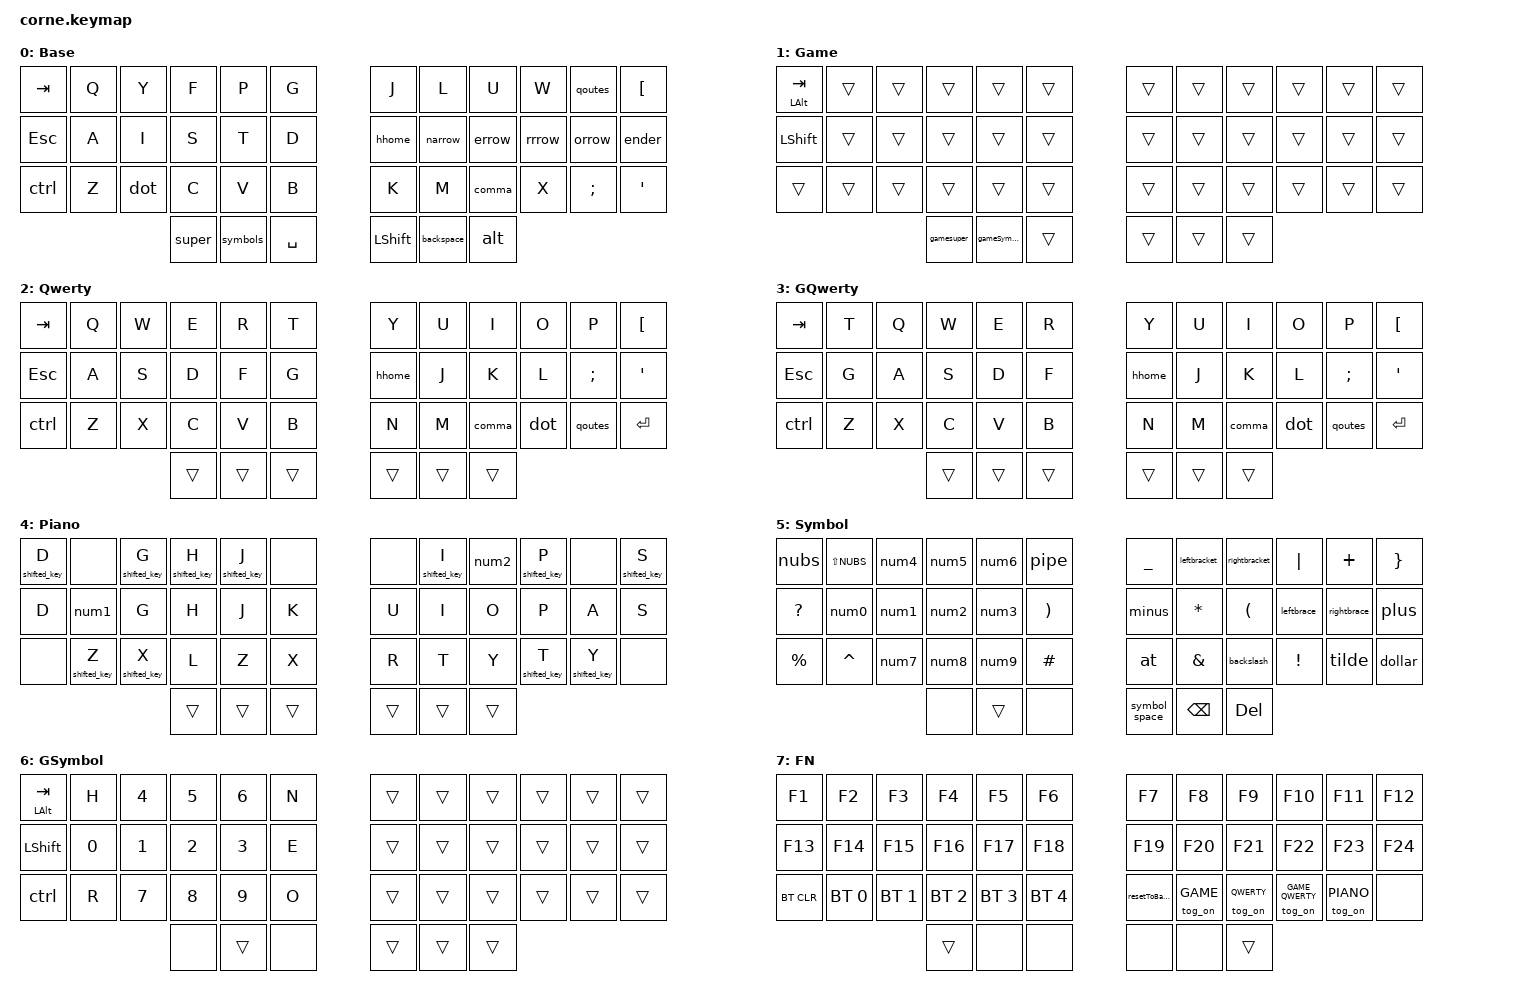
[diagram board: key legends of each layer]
/*
 * Copyright (c) 2020 The ZMK Contributors
 *
 * SPDX-License-Identifier: MIT
 */

#include <behaviors.dtsi>
#include <dt-bindings/zmk/keys.h>
#include <dt-bindings/zmk/bt.h>

#define DEFAULT     0
#define GAME        1
#define QWERTY      2
#define GAME_QWERTY 3
#define PIANO       4
#define SYMBOL      5
#define GAME_SYMBOL 6
#define FN          7
/ {
    behaviors {
        backspace: backspace_ctrl {
            compatible = "zmk,behavior-mod-morph";
            #binding-cells = <0>;
            bindings = <&mt LCTRL BACKSPACE>, <&kp BACKSPACE>;
            mods = <(MOD_LCTL)>;
        };
        comma: comma_semi {
            compatible = "zmk,behavior-mod-morph";
            #binding-cells = <0>;
            bindings = <&kp COMMA>, <&kp LT>;
            mods = <(MOD_LSFT)>;
        };
        dot: dot_colon {
            compatible = "zmk,behavior-mod-morph";
            #binding-cells = <0>;
            bindings = <&kp DOT>, <&kp GT>;
            mods = <(MOD_LSFT)>;
        };
        qoutes: sqt_dqt {
            compatible = "zmk,behavior-mod-morph";
            #binding-cells = <0>;
            bindings = <&kp BSLH>, <&kp AT>;
            mods = <(MOD_LSFT)>;
        };
        symbols: symbol_bspc {
            compatible = "zmk,behavior-mod-morph";
            #binding-cells = <0>;
            bindings = <&mo SYMBOL>, <&kp BSPC>;
            mods = <(MOD_LSFT)>;
        };
        narrow: n_left {
            compatible = "zmk,behavior-mod-morph";
            #binding-cells = <0>;
            bindings = <&kp N>, <&kp LEFT>;
            mods = <(MOD_LCTL)>;
        };
        errow: e_down {
            compatible = "zmk,behavior-mod-morph";
            #binding-cells = <0>;
            bindings = <&kp E>, <&kp DOWN>;
            mods = <(MOD_LCTL)>;
        };
        rrrow: r_up {
            compatible = "zmk,behavior-mod-morph";
            #binding-cells = <0>;
            bindings = <&kp R>, <&kp UP>;
            mods = <(MOD_LCTL)>;
        };
        orrow: o_right {
            compatible = "zmk,behavior-mod-morph";
            #binding-cells = <0>;
            bindings = <&kp O>, <&kp RIGHT>;
            mods = <(MOD_LCTL)>;
        };
        hhome: h_home {
            compatible = "zmk,behavior-mod-morph";
            #binding-cells = <0>;
            bindings = <&kp H>, <&kp HOME>;
            mods = <(MOD_LCTL)>;
        };
        ender: enter_end {
            compatible = "zmk,behavior-mod-morph";
            #binding-cells = <0>;
            bindings = <&kp RET>, <&kp END>;
            mods = <(MOD_LCTL)>;
        };
        super: lgui_alt_FN {
            compatible = "zmk,behavior-mod-morph";
            #binding-cells = <0>;
            bindings = <&kp LGUI>, <&FNMacro>;
            mods = <(MOD_LALT)>;
        };
        gamesuper: mtsuper_ESC {
            compatible = "zmk,behavior-mod-morph";
            #binding-cells = <0>;
            bindings = <&mt LGUI ESC>, <&FNMacro>;
            mods = <(MOD_LALT)>;
        };
        alt: alt_lgui_FN {
            compatible = "zmk,behavior-mod-morph";
            #binding-cells = <0>;
            bindings = <&kp LALT>, <&FNMacro>;
            mods = <(MOD_LGUI)>;
        };
        ctrl: ctrl_backspace {
            compatible = "zmk,behavior-mod-morph";
            #binding-cells = <0>;
            bindings = <&kp LCTRL>, <&kp BACKSPACE>;
            mods = <(MOD_LCTL)>;
            keep-mods = <(MOD_LCTL)>;
        };
        tog_on: toggle_layer_on_only {
            compatible = "zmk,behavior-toggle-layer";
            #binding-cells = <1>;
            display-name = "Toggle Layer On";
            toggle-mode = "on";
        };
        tog_off: toggle_layer_off_only {
            compatible = "zmk,behavior-toggle-layer";
            #binding-cells = <1>;
            display-name = "Toggle Layer Off";
            toggle-mode = "off";
        };
        dollar: shift_surpressed_dollar {
            compatible = "zmk,behavior-mod-morph";
            #binding-cells = <0>;
            bindings = <&kp RA(N4)>, <&kp RA(N4)>;
            mods = <(MOD_LSFT)>;
        };
        tilde: shift_surpressed_tilde {
            compatible = "zmk,behavior-mod-morph";
            #binding-cells = <0>;
            bindings = <&kp RA(RBKT)>, <&kp RA(RBKT)>;
            mods = <(MOD_LSFT)>;
        };
        backslash: shift_surpressed_backslash {
            compatible = "zmk,behavior-mod-morph";
            #binding-cells = <0>;
            bindings = <&kp RA(NUBS)>, <&kp RA(NUBS)>;
            mods = <(MOD_LSFT)>;
        };
        at: shift_surpressed_at {
            compatible = "zmk,behavior-mod-morph";
            #binding-cells = <0>;
            bindings = <&kp RA(N2)>, <&kp RA(N2)>;
            mods = <(MOD_LSFT)>;
        };
        leftbrace: shift_surpressed_leftbrace {
            compatible = "zmk,behavior-mod-morph";
            #binding-cells = <0>;
            bindings = <&kp RA(N7)>, <&kp RA(N7)>;
            mods = <(MOD_LSFT)>;
        };
        rightbrace: shift_surpressed_rightbrace {
            compatible = "zmk,behavior-mod-morph";
            #binding-cells = <0>;
            bindings = <&kp RA(N0)>, <&kp RA(N0)>;
            mods = <(MOD_LSFT)>;
        };
        minus: shift_surpressed_minus {
            compatible = "zmk,behavior-mod-morph";
            #binding-cells = <0>;
            bindings = <&kp FSLH>, <&kp FSLH>;
            mods = <(MOD_LSFT)>;
        };
        plus: shift_surpressed_plus {
            compatible = "zmk,behavior-mod-morph";
            #binding-cells = <0>;
            bindings = <&kp MINUS>, <&kp MINUS>;
            mods = <(MOD_LSFT)>;
        };
        rightbracket: shift_surpressed_rightbracket {
            compatible = "zmk,behavior-mod-morph";
            #binding-cells = <0>;
            bindings = <&kp RA(N9)>, <&kp RA(N9)>;
            mods = <(MOD_LSFT)>;
        };
        leftbracket: shift_surpressed_leftbracket {
            compatible = "zmk,behavior-mod-morph";
            #binding-cells = <0>;
            bindings = <&kp RA(N8)>, <&kp RA(N8)>;
            mods = <(MOD_LSFT)>;
        };
        pipe: shift_surpressed_pipe {
            compatible = "zmk,behavior-mod-morph";
            #binding-cells = <0>;
            bindings = <&kp RA(EQUAL)>, <&kp RA(EQUAL)>;
            mods = <(MOD_LSFT)>;
        };
        nubs: shift_surpressed_nubs {
            compatible = "zmk,behavior-mod-morph";
            #binding-cells = <0>;
            bindings = <&kp NUBS>, <&kp NUBS>;
            mods = <(MOD_LSFT)>;
        };
        num0: shift_surpressed_0 {
            compatible = "zmk,behavior-mod-morph";
            #binding-cells = <0>;
            bindings = <&kp N0>, <&kp N0>;
            mods = <(MOD_LSFT)>;
        };
        num1: shift_surpressed_1 {
            compatible = "zmk,behavior-mod-morph";
            #binding-cells = <0>;
            bindings = <&kp N1>, <&kp N1>;
            mods = <(MOD_LSFT)>;
        };
        num2: shift_surpressed_2 {
            compatible = "zmk,behavior-mod-morph";
            #binding-cells = <0>;
            bindings = <&kp N2>, <&kp N2>;
            mods = <(MOD_LSFT)>;
        };
        num3: shift_surpressed_3 {
            compatible = "zmk,behavior-mod-morph";
            #binding-cells = <0>;
            bindings = <&kp N3>, <&kp N3>;
            mods = <(MOD_LSFT)>;
        };
        num4: shift_surpressed_4 {
            compatible = "zmk,behavior-mod-morph";
            #binding-cells = <0>;
            bindings = <&kp N4>, <&kp N4>;
            mods = <(MOD_LSFT)>;
        };
        num5: shift_surpressed_5 {
            compatible = "zmk,behavior-mod-morph";
            #binding-cells = <0>;
            bindings = <&kp N5>, <&kp N5>;
            mods = <(MOD_LSFT)>;
        };
        num6: shift_surpressed_6 {
            compatible = "zmk,behavior-mod-morph";
            #binding-cells = <0>;
            bindings = <&kp N6>, <&kp N6>;
            mods = <(MOD_LSFT)>;
        };
        num7: shift_surpressed_7 {
            compatible = "zmk,behavior-mod-morph";
            #binding-cells = <0>;
            bindings = <&kp N7>, <&kp N7>;
            mods = <(MOD_LSFT)>;
        };
        num8: shift_surpressed_8 {
            compatible = "zmk,behavior-mod-morph";
            #binding-cells = <0>;
            bindings = <&kp N8>, <&kp N8>;
            mods = <(MOD_LSFT)>;
        };
        num9: shift_surpressed_9 {
            compatible = "zmk,behavior-mod-morph";
            #binding-cells = <0>;
            bindings = <&kp N9>, <&kp N9>;
            mods = <(MOD_LSFT)>;
        };
    };
    macros {
        symbol_space: space_and_hold_LSHFT {
            compatible = "zmk,behavior-macro";
            #binding-cells = <0>;
            bindings
                = <&macro_tap &kp SPACE>
                , <&macro_press &kp LSHFT>
                , <&macro_pause_for_release>
                , <&macro_release &kp LSHFT>
                ;
        };
        FNMacro: FN_and_let_go_off_mod {
            compatible = "zmk,behavior-macro";
            #binding-cells = <0>;
            bindings
                = <&macro_release &kp LGUI>
                , <&macro_release &kp LALT>
                , <&macro_press &mo FN>
                , <&macro_pause_for_release>
                , <&macro_release &mo FN>
                ;
        };
        resetToBase: reset_to_base_layer {
            compatible = "zmk,behavior-macro";
            #binding-cells = <0>;
            bindings
                = <&macro_press &tog_off GAME>
                , <&macro_press &tog_off QWERTY>
                , <&macro_press &tog_off GAME_QWERTY>
                , <&macro_press &tog_off PIANO>
                ;
        };
        gameSymbol: toggle_game_symbol {
            compatible = "zmk,behavior-macro";
            #binding-cells = <0>;
            bindings
                = <&macro_press &mo SYMBOL>
                , <&macro_press &mo GAME_SYMBOL>
                , <&macro_pause_for_release>
                , <&macro_release &mo SYMBOL>
                , <&macro_release &mo GAME_SYMBOL>
                ;
        };
        shifted_key: shifted_key {
            compatible = "zmk,behavior-macro-one-param";
            #binding-cells = <1>; // Must be 1
            bindings 
                = <&macro_press &kp LSHFT>
                , <&macro_param_1to1>
                , <&macro_press &kp MACRO_PLACEHOLDER>
                , <&macro_release &kp LSHFT>
                , <&macro_pause_for_release>
                , <&macro_param_1to1>
                , <&macro_release &kp MACRO_PLACEHOLDER>
                ;
        };
    };
};
/ {
        keymap {
                compatible = "zmk,keymap";

                default_layer {
// -----------------------------------------------------------------------------------------
// | TAB        |  Q  |  W  |  F  |  P  |  G  |   |  J  |  L   |  U  |  Y  | '/"  |   Å   |
// | ESC        |  A  |  R  |  S  |  T  |  D  |   |  H  |  N   |  E  |  I  |  O  | ENTER |
// | BACKDELETE |  Z  |  X  |  C  |  V  |  B  |   |  K  |  M   | ,/; | ./:  |  Æ  |   Ø   |
//                   | SUPER | SPACE | SYMBOL |   | SHIFT | CTRL | ALT |
                        display-name = "Base";
                        bindings = <
   &kp TAB   &kp Q &kp Y &kp F &kp P &kp G   &kp J &kp L  &kp U     &kp W   &qoutes    &kp LEFT_BRACKET
   &kp ESC &kp A &kp I &kp S &kp T &kp D   &hhome &narrow  &errow     &rrrow   &orrow &ender
   &ctrl &kp Z &dot &kp C &kp V &kp B   &kp K &kp M  &comma &kp X &kp SEMI &kp APOS
                   &super &symbols &kp SPACE   &kp LSHFT &backspace &alt
                        >;
                };
                game_layer {
                        display-name = "Game";
                        bindings = <
   &mt LALT TAB  &trans &trans &trans &trans &trans   &trans &trans &trans &trans &trans &trans
   &kp LSHFT     &trans &trans &trans &trans &trans   &trans &trans &trans &trans &trans &trans
   &trans        &trans &trans &trans &trans &trans   &trans &trans &trans &trans &trans &trans
           &gamesuper &gameSymbol &trans                 &trans &trans &trans
                        >;
                };
                qwerty_layer {
                        display-name = "Qwerty";
                        bindings = <
   &kp TAB   &kp Q &kp W &kp E &kp R &kp T   &kp Y &kp U  &kp I     &kp O   &kp P &kp LEFT_BRACKET 
   &kp ESC &kp A &kp S &kp D &kp F &kp G   &hhome &kp J  &kp K &kp L   &kp SEMI &kp APOS
   &ctrl &kp Z &kp X &kp C &kp V &kp B   &kp N &kp M  &comma &dot &qoutes &kp ENTER
                   &trans &trans &trans &trans &trans &trans
                        >;
                };
                game_qwerty {
                        display-name = "GQwerty";
                        bindings = <
   &kp TAB &kp T &kp Q &kp W &kp E &kp R   &kp Y &kp U  &kp I     &kp O   &kp P &kp LEFT_BRACKET 
   &kp ESC &kp G &kp A &kp S &kp D &kp F   &hhome &kp J  &kp K &kp L   &kp SEMI &kp APOS
   &ctrl   &kp Z &kp X &kp C &kp V &kp B   &kp N &kp M  &comma &dot &qoutes &kp ENTER
                   &trans &trans &trans    &trans &trans &trans  
                        >;
                };
                piano {
                        display-name = "Piano";
                        bindings = <
   &shifted_key D &none          &shifted_key G &shifted_key H &shifted_key J &none/**/&none &shifted_key I &num2 &shifted_key P &none          &shifted_key S
   &kp D          &num1          &kp G          &kp H          &kp J          &kp K/**/&kp U &kp I          &kp O          &kp P          &kp A          &kp S
   &none          &shifted_key Z &shifted_key X &kp L          &kp Z          &kp X/**/&kp R &kp T          &kp Y          &shifted_key T &shifted_key Y &none
                   &trans &trans &trans    &trans &trans &trans
                        >;
                };
                symbol_layer {
                        display-name = "Symbol";
                        bindings = <
   &nubs    &kp LS(NUBS)   &num4 &num5 &num6 &pipe    &kp UNDER  &leftbracket &rightbracket &kp PIPE  &kp PLUS &kp RBRC
   &kp QMARK &num0   &num1 &num2 &num3 &kp RPAR    &minus &kp STAR &kp LPAR &leftbrace  &rightbrace  &plus
   &kp PRCNT &kp CARET &num7 &num8 &num9 &kp HASH     &at  &kp AMPS  &backslash  &kp EXCL  &tilde &dollar
                          	&none &trans &none            &symbol_space &kp BACKSPACE &kp DEL
            >;
                };
                game_symbol_layer {
// -----------------------------------------------------------------------------------------
// |  <  |  >  |  4  |  5  |  6  |  ?  |   |  |  |  [  |  ]  |  *  |  `  |  ^  |
// |  =  |  0  |  1  |  2  |  3  |  _  |   |  -  |  (  |  )  |  {  |  }  |  +  |
// |  %  |  &  |  7  |  8  |  9  |  #  |   |  @  |  \  |  /  |  !  |  ~  |  $  |
//                    |blank| HELD | BLANK |   | SPACE | CTRL | ALT |
// |[]{}@\~$
                        display-name = "GSymbol";
                        bindings = <
   &mt LALT TAB &kp H  &kp N4 &kp N5 &kp N6 &kp N    &trans &trans &trans &trans &trans &trans
   &kp LSHFT    &kp N0 &kp N1 &kp N2 &kp N3 &kp E    &trans &trans &trans &trans &trans &trans  
   &ctrl        &kp R  &kp N7 &kp N8 &kp N9 &kp O    &trans &trans &trans &trans &trans &trans  
                          &none &trans &none            &trans &trans &trans
                        >;
                };
                fn_layer {
                        display-name = "FN";
                        bindings = <
    &kp F1  &kp F2  &kp F3  &kp F4  &kp F5  &kp F6     &kp F7 &kp F8 &kp F9 &kp F10 &kp F11 &kp F12
    &kp F13 &kp F14 &kp F15 &kp F16 &kp F17 &kp F18    &kp F19 &kp F20 &kp F21 &kp F22 &kp F23 &kp F24
    &bt BT_CLR &bt BT_SEL 0 &bt BT_SEL 1 &bt BT_SEL 2 &bt BT_SEL 3 &bt BT_SEL 4    &resetToBase &tog_on GAME &tog_on QWERTY  &tog_on GAME_QWERTY &tog_on PIANO &none
                    	     &trans &none   &none   &none   &none    &trans
                        >;
                };
        };
};
